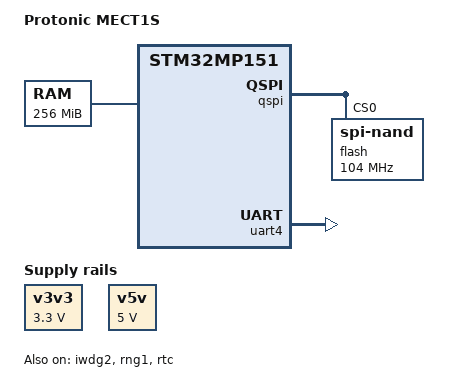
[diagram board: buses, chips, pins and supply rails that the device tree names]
// SPDX-License-Identifier: (GPL-2.0+ OR BSD-3-Clause)
/*
 * Copyright (C) 2024, Protonic Holland - All Rights Reserved
 * Author: David Jander <david@protonic.nl>
 */
/dts-v1/;

#include "stm32mp151.dtsi"
#include "stm32mp15-pinctrl.dtsi"
#include "stm32mp15xxad-pinctrl.dtsi"
#include <dt-bindings/clock/stm32mp1-clksrc.h>
#include "stm32mp15-ddr3-1x2Gb-1066-binG.dtsi"

/ {
	model = "Protonic MECT1S";
	compatible = "prt,mect1s", "st,stm32mp151";

	chosen {
		stdout-path = "serial0:1500000n8";
	};

	aliases {
		serial0 = &uart4;
	};

	v3v3: fixed-regulator-v3v3 {
		compatible = "regulator-fixed";
		regulator-name = "v3v3";
		regulator-min-microvolt = <3300000>;
		regulator-max-microvolt = <3300000>;
	};

	v5v: fixed-regulator-v5v {
		compatible = "regulator-fixed";
		regulator-name = "v5v";
		regulator-min-microvolt = <5000000>;
		regulator-max-microvolt = <5000000>;
		regulator-always-on;
	};

	memory@c0000000 {
		device_type = "memory";
		reg = <0xC0000000 0x10000000>;
	};
};

&clk_lse {
	status = "disabled";
};

&iwdg2 {
	timeout-sec = <32>;
	status = "okay";
	secure-status = "okay";
};

&qspi {
	pinctrl-names = "default", "sleep";
	pinctrl-0 = <&qspi_clk_pins_a
		     &qspi_bk1_pins_a>;
	reg = <0x58003000 0x1000>, <0x70000000 0x4000000>;
	#address-cells = <1>;
	#size-cells = <0>;
	status = "okay";

	flash@0 {
		compatible = "spi-nand";
		reg = <0>;
		spi-rx-bus-width = <4>;
		spi-max-frequency = <104000000>;
		#address-cells = <1>;
		#size-cells = <1>;
	};
};

&qspi_bk1_pins_a {
	pins {
		bias-pull-up;
		drive-push-pull;
		slew-rate = <1>;
	};
};

&rcc {
	st,clksrc = <
		CLK_MPU_PLL1P
		CLK_AXI_PLL2P
		CLK_MCU_PLL3P
		CLK_PLL12_HSE
		CLK_PLL3_HSE
		CLK_PLL4_HSE
		CLK_RTC_LSI
		CLK_MCO1_DISABLED
		CLK_MCO2_DISABLED
	>;

	st,clkdiv = <
		1 /*MPU*/
		0 /*AXI*/
		0 /*MCU*/
		1 /*APB1*/
		1 /*APB2*/
		1 /*APB3*/
		1 /*APB4*/
		2 /*APB5*/
		23 /*RTC*/
		0 /*MCO1*/
		0 /*MCO2*/
	>;

	st,pkcs = <
		CLK_CKPER_HSE
		CLK_FMC_ACLK
		CLK_QSPI_ACLK
		CLK_ETH_PLL4P
		CLK_SDMMC12_PLL4P
		CLK_DSI_DSIPLL
		CLK_STGEN_HSE
		CLK_USBPHY_HSE
		CLK_SPI2S1_PLL3Q
		CLK_SPI2S23_PLL3Q
		CLK_SPI45_HSI
		CLK_SPI6_HSI
		CLK_I2C46_HSI
		CLK_SDMMC3_PLL4P
		CLK_USBO_USBPHY
		CLK_ADC_CKPER
		CLK_CEC_LSI
		CLK_I2C12_HSI
		CLK_I2C35_HSI
		CLK_UART1_HSI
		CLK_UART24_HSI
		CLK_UART35_HSI
		CLK_UART6_HSI
		CLK_UART78_HSI
		CLK_SPDIF_PLL4P
		CLK_FDCAN_PLL4R
		CLK_SAI1_PLL3Q
		CLK_SAI2_PLL3Q
		CLK_SAI3_PLL3Q
		CLK_SAI4_PLL3Q
		CLK_RNG1_LSI
		CLK_RNG2_LSI
		CLK_LPTIM1_PCLK1
		CLK_LPTIM23_PCLK3
		CLK_LPTIM45_LSI
	>;

	/* VCO = 1300.0 MHz => P = 650 (CPU) */
	pll1: st,pll@0 {
		compatible = "st,stm32mp1-pll";
		reg = <0>;
		cfg = <2 80 0 0 0 PQR(1,0,0)>;
		frac = <0x800>;
	};

	/* VCO = 1066.0 MHz => P = 266 (AXI), Q = 533 (GPU), R = 533 (DDR) */
	pll2: st,pll@1 {
		compatible = "st,stm32mp1-pll";
		reg = <1>;
		cfg = <2 65 1 0 0 PQR(1,1,1)>;
		frac = <0x1400>;
	};

	/* VCO = 417.8 MHz => P = 209, Q = 24, R = 11 */
	pll3: st,pll@2 {
		compatible = "st,stm32mp1-pll";
		reg = <2>;
		cfg = <1 33 1 16 36 PQR(1,1,1)>;
		frac = <0x1a04>;
	};

	/* VCO = 750.0 MHz => P = 125, Q = 62.5, R = 62.5 */
	pll4: st,pll@3 {
		compatible = "st,stm32mp1-pll";
		reg = <3>;
		cfg = <3 124 5 11 11 PQR(1,1,1)>;
	};
};

&rng1 {
	status = "okay";
};

&rtc {
	status = "okay";
};

&uart4 {
	pinctrl-names = "default";
	pinctrl-0 = <&uart4_pins_a>;
	status = "okay";
};
